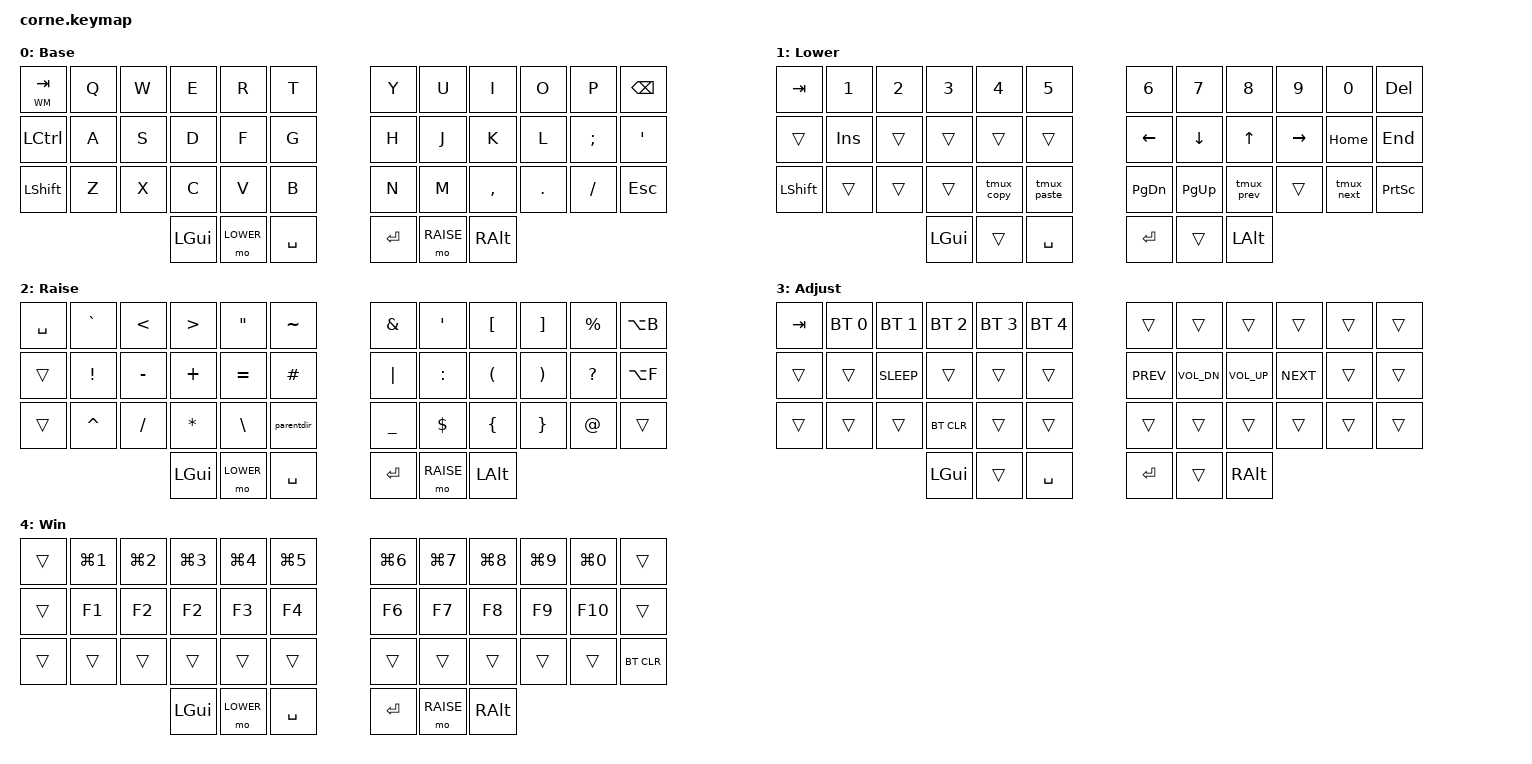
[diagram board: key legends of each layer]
/*
 * Copyright (c) 2020 The ZMK Contributors
 *
 * SPDX-License-Identifier: MIT
 */

#include <behaviors.dtsi>
#include <dt-bindings/zmk/keys.h>
#include <dt-bindings/zmk/bt.h>

#define DEFAULT 0
#define LOWER 1
#define RAISE 2
#define ADJUST 3
#define WM 4

/ {
    macros {
        tmux_copy: tmux_copy {
            compatible = "zmk,behavior-macro";
            label = "TMUX_COPY";
            #binding-cells = <0>;
            bindings = <&kp LC(B)>, <&kp LEFT_BRACKET>;
        };
        tmux_paste: tmux_paste {
            compatible = "zmk,behavior-macro";
            label = "TMUX_PASTE";
            #binding-cells = <0>;
            bindings = <&kp LC(B)>, <&kp RIGHT_BRACKET>;
        };
        tmux_next: tmux_next {
            compatible = "zmk,behavior-macro";
            label = "TMUX_NEXT";
            #binding-cells = <0>;
            bindings = <&kp LC(B)>, <&kp N>;
        };
        tmux_prev: tmux_prev {
            compatible = "zmk,behavior-macro";
            label = "TMUX_PREV";
            #binding-cells = <0>;
            bindings = <&kp LC(B)>, <&kp P>;
        };
        parentdir: parentdir {
            compatible = "zmk,behavior-macro";
            label = "PARENT_DIR";
            #binding-cells = <0>;
            bindings = <&kp DOT>, <&kp DOT>, <&kp SLASH>;
        };
    };

    conditional_layers {
        compatible = "zmk,conditional-layers";
        tri_layer {
            if-layers = <LOWER RAISE>;
            then-layer = <ADJUST>;
        };
    };

    keymap {
        compatible = "zmk,keymap";

        default_layer {
            // -----------------------------------------------------------------------------------------
            // |  TAB |  Q  |  W  |  E  |  R  |  T  |   |  Y  |  U   |  I  |  O  |  P  | BKSP |
            // | CTRL |  A  |  S  |  D  |  F  |  G  |   |  H  |  J   |  K  |  L  |  ;  |  '   |
            // | SHFT |  Z  |  X  |  C  |  V  |  B  |   |  N  |  M   |  ,  |  .  |  /  | ESC  |
            //                    | GUI | LWR | SPC |   | ENT | RSE  | ALT |

            bindings = <
            &lt WM TAB  &kp Q  &kp W  &kp E  &kp R  &kp T  &kp Y  &kp U  &kp I      &kp O    &kp P     &kp BSPC
            &kp LCTRL   &kp A  &kp S  &kp D  &kp F  &kp G  &kp H  &kp J  &kp K      &kp L    &kp SEMI  &kp SQT
            &kp LSHFT   &kp Z  &kp X  &kp C  &kp V  &kp B  &kp N  &kp M  &kp COMMA  &kp DOT  &kp FSLH  &kp ESC
                         &kp LGUI  &mo LOWER  &kp SPACE    &kp RET  &mo RAISE   &kp RALT
            >;
            label = "Base";
        };

        lower_layer {
            // -----------------------------------------------------------------------------------------
            // | TAB  | 1   | 2   | 3   | 4    | 5    |  | 6    | 7    | 8     | 9   | 0     | DEL  |
            // | CTRL | INS |     |     |      |      |  | LFT  | DWN  | UP    | RGT | HOM   | END   |
            // | SHFT |     |     |     | TCPY | TPST |  | PGDN | PGUP | TPREV |     | TNEXT | PSCRN |
            //                    | GUI |      | SPC  |  | ENT |       | LALT  |

            bindings = <
            &kp    TAB   &kp    N1  &kp    N2 &kp    N3 &kp        N4 &kp         N5 &kp N6    &kp N7    &kp        N8 &kp    N9    &kp        N0   &kp DEL
            &trans       &kp    INS &trans    &trans    &trans        &trans         &kp LEFT  &kp DOWN  &kp        UP &kp    RIGHT &kp        HOME &kp END
            &kp    LSHFT &trans     &trans    &trans    &tmux_copy    &tmux_paste    &kp PG_DN &kp PG_UP &tmux_prev    &trans       &tmux_next      &kp PSCRN
                                           &kp LGUI      &trans     &kp SPACE       &kp RET      &trans  &kp LALT
            >;
            label = "Lower";
        };

        raise_layer {
            // -----------------------------------------------------------------------------------------
            //  | TAB  |  `  |  <  |  >  |  "  |   ~   |    |   &    |  '  |  [  |  ]  |  %  | BACKWARD
            //  | CTRL |  !  |  -  |  +  |  =  |   #   |    |  PIPE  |  :  |  (  |  )  |  ?  | FORWARD |
            //  | SHFT |  ^  |  /  |  *  |  \  |  ../  |    |   _    |  $  |  {  |  }  |  @  | ESC |
            //                   | GUI | LWR |   SPC |    | ENT    | RSE | ALT |


            bindings = <
            &kp    SPACE  &kp GRAVE  &kp LT     &kp GT    &kp DQT    &kp        TILDE  &kp AMPS   &kp SQT     &kp LBKT  &kp RBKT  &kp PRCNT    &kp LA(B)
            &trans        &kp EXCL   &kp MINUS  &kp PLUS  &kp EQUAL  &kp        HASH   &kp PIPE   &kp COLON   &kp LPAR  &kp RPAR  &kp QMARK    &kp LA(F)
            &trans        &kp CARET  &kp SLASH  &kp STAR  &kp BSLH   &parentdir        &kp UNDER  &kp DOLLAR  &kp LBRC  &kp RBRC  &kp AT_SIGN  &trans
                                          &kp LGUI  &mo LOWER  &kp SPACE                  &kp RET  &mo RAISE   &kp LALT
            >;
            label = "Raise";
        };
            
        adjust_layer {
            // -----------------------------------------------------------------------------------------
            // | TAB  | BT1 | BT2 |  BT3   | BT4 | BT5 |  |      |         |       |      |  |  |
            // | CTRL |     | SLP |        |     |     |  | PREV | VOLDOWN | VOLUP | NEXT |  |  |
            // | SHFT |     |     | BT_CLR |     |     |  |      |         |       |      |  |  |
            //                    |    GUI | LWR | SPC |  | ENT  | RSE     | ALT   |

            bindings = <
        &kp    TAB   &bt    BT_SEL 0 &bt    BT_SEL 1 &bt    BT_SEL 2 &bt    BT_SEL 3 &bt    BT_SEL 4 &trans        &trans          &trans          &trans        &trans      &trans
        &trans       &trans          &kp    C_SLEEP  &trans          &trans          &trans          &kp    C_PREV &kp    C_VOL_DN &kp    C_VOL_UP &kp    C_NEXT &trans      &trans
        &trans       &trans          &trans          &bt    BT_CLR   &trans          &trans          &trans        &trans          &trans          &trans        &trans      &trans
                                    &kp LGUI &trans  &kp SPACE &kp RET &trans  &kp RALT
            >;
            label = "Adjust";
        };

        wm_layer {
            // -----------------------------------------------------------------------------------------
            // |  | W1 | W2 | W3  | W4  | W5  |  | W6  | W7  | W8  | W9 | W0 |  |
            // |  |    |    |     |     |     |  |     |     |     |    |    |  |
            // |  |    |    |     |     |     |  |     |     |     |    |    |  |
            // |  |    |    |     |     |     |  |     |     |     |    |    |  |
            // |  |    |    | GUI | LWR | SPC |  | ENT | RSE | ALT |

            bindings = <
        &trans     &kp    LG(N1)    &kp    LG(N2)    &kp    LG(N3)    &kp    LG(N4)    &kp    LG(N5)    &kp    LG(N6)    &kp    LG(N7)    &kp    LG(N8)    &kp    LG(N9)    &kp    LG(N0)    &trans
        &trans     &kp    F1        &kp    F2        &kp    F2        &kp    F3        &kp    F4        &kp    F6        &kp    F7        &kp    F8        &kp    F9        &kp    F10       &trans
        &trans     &trans           &trans           &trans           &trans           &trans           &trans           &trans           &trans           &trans           &trans           &bt    BT_CLR
                                                                      &kp LGUI  &mo LOWER  &kp SPACE    &kp RET  &mo RAISE   &kp RALT
            >;
            label = "Win";
        };
    };
};
